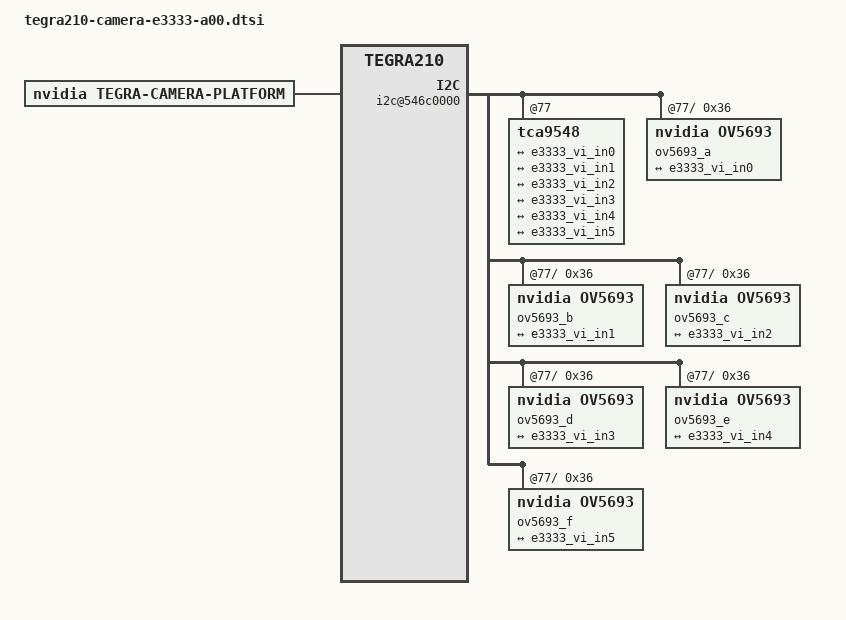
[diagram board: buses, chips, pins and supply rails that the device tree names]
/*
 * Copyright (c) 2015-2016, NVIDIA CORPORATION.  All rights reserved.
 *
 * This program is free software; you can redistribute it and/or modify
 * it under the terms of the GNU General Public License as published by
 * the Free Software Foundation; either version 2 of the License, or
 * (at your option) any later version.
 *
 * This program is distributed in the hope that it will be useful, but WITHOUT
 * ANY WARRANTY; without even the implied warranty of MERCHANTABILITY or
 * FITNESS FOR A PARTICULAR PURPOSE.  See the GNU General Public License for
 * more details.
 *
 * You should have received a copy of the GNU General Public License
 * along with this program.  If not, see <http://www.gnu.org/licenses/>.
 */

#include <dt-bindings/media/camera.h>
#include <dt-bindings/platform/t210/t210.h>

/* camera control gpio definitions */
/ {
	host1x {
		vi {
			num-channels = <6>;
			ports {
				#address-cells = <1>;
				#size-cells = <0>;
				port@0 {
					reg = <0>;
					e3333_vi_in0: endpoint {
						csi-port = <0>;
						bus-width = <2>;
						remote-endpoint = <&e3333_ov5693_out0>;
					};
				};
				port@1 {
					reg = <1>;
					e3333_vi_in1: endpoint {
						csi-port = <1>;
						bus-width = <2>;
						remote-endpoint = <&e3333_ov5693_out1>;
					};
				};
				port@2 {
					reg = <2>;
					e3333_vi_in2: endpoint {
						csi-port = <2>;
						bus-width = <2>;
						remote-endpoint = <&e3333_ov5693_out2>;
					};
				};
				port@3 {
					reg = <3>;
					e3333_vi_in3: endpoint {
						csi-port = <3>;
						bus-width = <2>;
						remote-endpoint = <&e3333_ov5693_out3>;
					};
				};
				port@4 {
					reg = <4>;
					e3333_vi_in4: endpoint {
						csi-port = <4>;
						bus-width = <2>;
						remote-endpoint = <&e3333_ov5693_out4>;
					};
				};
				port@5 {
					reg = <5>;
					e3333_vi_in5: endpoint {
						csi-port = <5>;
						bus-width = <2>;
						remote-endpoint = <&e3333_ov5693_out5>;
					};
				};
			};
		};

		i2c@546c0000 {
			status = "okay";
			#address-cells = <1>;
			#size-cells = <0>;

			tca9548@77 {
				i2c@0 {
					ov5693_a@36 {
						compatible = "nvidia,ov5693";
						reg = <0x36>;
						avdd-reg = "vana";
						iovdd-reg = "vif";
						devnode = "video0";
						physical_w = "3.674";
						physical_h = "2.738";
						/* Defines number of frames to be dropped by driver internally after applying */
						/* sensor crop settings. Some sensors send corrupt frames after applying */
						/* crop co-ordinates */
						post_crop_frame_drop = "0";

						mode0 { // OV5693_MODE_2592X1944
							mclk_khz = "24000";
							num_lanes = "2";
							tegra_sinterface = "serial_a";
							discontinuous_clk = "no";
							dpcm_enable = "false";
							cil_settletime = "0";
							active_w = "2592";
							active_h = "1944";
							pixel_t = "bayer_bggr";
							readout_orientation = "90";
							line_length = "2688";
							inherent_gain = "1";
							mclk_multiplier = "17.0";
							pix_clk_hz = "160000000";
							min_gain_val = "1.0";
							max_gain_val = "16";
							min_hdr_ratio = "1";
							max_hdr_ratio = "64";
							min_framerate = "1.816577";
							max_framerate = "30";
							min_exp_time = "34";
							max_exp_time = "550385";
						};
						mode1 { //OV5693_MODE_2592X1458
							mclk_khz = "24000";
							num_lanes = "2";
							tegra_sinterface = "serial_a";
							discontinuous_clk = "no";
							dpcm_enable = "false";
							cil_settletime = "0";
							active_w = "2592";
							active_h = "1458";
							pixel_t = "bayer_bggr";
							readout_orientation = "90";
							line_length = "2688";
							inherent_gain = "1";
							mclk_multiplier = "17.0";
							pix_clk_hz = "160000000";
							min_gain_val = "1.0";
							max_gain_val = "16";
							min_hdr_ratio = "1";
							max_hdr_ratio = "64";
							min_framerate = "1.816577";
							max_framerate = "30";
							min_exp_time = "34";
							max_exp_time = "550385";
						};
						mode2 { //OV5693_MODE_1280X720
							mclk_khz = "24000";
							num_lanes = "2";
							tegra_sinterface = "serial_a";
							discontinuous_clk = "no";
							dpcm_enable = "false";
							cil_settletime = "0";
							active_w = "1280";
							active_h = "720";
							pixel_t = "bayer_bggr";
							readout_orientation = "90";
							line_length = "1752";
							inherent_gain = "1";
							mclk_multiplier = "17.0";
							pix_clk_hz = "160000000";
							min_gain_val = "1.0";
							max_gain_val = "16";
							min_hdr_ratio = "1";
							max_hdr_ratio = "64";
							min_framerate = "2.787078";
							max_framerate = "120";
							min_exp_time = "22";
							max_exp_time = "358733";
						};
						// HDR Modes
						mode3 { //OV5693_MODE_2592X1944_HDR
							mclk_khz = "24000";
							num_lanes = "2";
							tegra_sinterface = "serial_a";
							discontinuous_clk = "no";
							dpcm_enable = "false";
							cil_settletime = "0";
							active_w = "2592";
							active_h = "1944";
							pixel_t = "hdr_bggr";
							readout_orientation = "90";
							line_length = "3696";
							inherent_gain = "1";
							mclk_multiplier = "19.0";
							pix_clk_hz = "176000000";
							min_gain_val = "1.0";
							max_gain_val = "16";
							min_hdr_ratio = "1";
							max_hdr_ratio = "64";
							min_framerate = "1.453262";
							max_framerate = "24";
							min_exp_time = "42";
							max_exp_time = "687981";
						};
						ports {
							#address-cells = <1>;
							#size-cells = <0>;
							port@0 {
								reg = <0>;
								e3333_ov5693_out0: endpoint {
									csi-port = <0>;
									bus-width = <2>;
									remote-endpoint = <&e3333_vi_in0>;
								};
							};
						};
					};
				};
				i2c@1 {
					ov5693_b@36 {
						compatible = "nvidia,ov5693";
						reg = <0x36>;
						avdd-reg = "vana";
						iovdd-reg = "vif";
						devnode = "video1";
						physical_w = "3.674";
						physical_h = "2.738";
						/* Defines number of frames to be dropped by driver internally after applying */
						/* sensor crop settings. Some sensors send corrupt frames after applying */
						/* crop co-ordinates */
						post_crop_frame_drop = "0";

						mode0 { // OV5693_MODE_2592X1944
							mclk_khz = "24000";
							num_lanes = "2";
							tegra_sinterface = "serial_b";
							discontinuous_clk = "no";
							dpcm_enable = "false";
							cil_settletime = "0";
							active_w = "2592";
							active_h = "1944";
							pixel_t = "bayer_bggr";
							readout_orientation = "90";
							line_length = "2688";
							inherent_gain = "1";
							mclk_multiplier = "17.0";
							pix_clk_hz = "160000000";
							min_gain_val = "1.0";
							max_gain_val = "16";
							min_hdr_ratio = "1";
							max_hdr_ratio = "64";
							min_framerate = "1.816577";
							max_framerate = "30";
							min_exp_time = "34";
							max_exp_time = "550385";
						};
						mode1 { //OV5693_MODE_2592X1458
							mclk_khz = "24000";
							num_lanes = "2";
							tegra_sinterface = "serial_b";
							discontinuous_clk = "no";
							dpcm_enable = "false";
							cil_settletime = "0";
							active_w = "2592";
							active_h = "1458";
							pixel_t = "bayer_bggr";
							readout_orientation = "90";
							line_length = "2688";
							inherent_gain = "1";
							mclk_multiplier = "17.0";
							pix_clk_hz = "160000000";
							min_gain_val = "1.0";
							max_gain_val = "16";
							min_hdr_ratio = "1";
							max_hdr_ratio = "64";
							min_framerate = "1.816577";
							max_framerate = "30";
							min_exp_time = "34";
							max_exp_time = "550385";
						};
						mode2 { //OV5693_MODE_1280X720
							mclk_khz = "24000";
							num_lanes = "2";
							tegra_sinterface = "serial_b";
							discontinuous_clk = "no";
							dpcm_enable = "false";
							cil_settletime = "0";
							active_w = "1280";
							active_h = "720";
							pixel_t = "bayer_bggr";
							readout_orientation = "90";
							line_length = "1752";
							inherent_gain = "1";
							mclk_multiplier = "17.0";
							pix_clk_hz = "160000000";
							min_gain_val = "1.0";
							max_gain_val = "16";
							min_hdr_ratio = "1";
							max_hdr_ratio = "64";
							min_framerate = "2.787078";
							max_framerate = "120";
							min_exp_time = "22";
							max_exp_time = "358733";
						};
						// HDR Modes
						mode3 { //OV5693_MODE_2592X1944_HDR
							mclk_khz = "24000";
							num_lanes = "2";
							tegra_sinterface = "serial_b";
							discontinuous_clk = "no";
							dpcm_enable = "false";
							cil_settletime = "0";
							active_w = "2592";
							active_h = "1944";
							pixel_t = "hdr_bggr";
							readout_orientation = "90";
							line_length = "3696";
							inherent_gain = "1";
							mclk_multiplier = "19.0";
							pix_clk_hz = "176000000";
							min_gain_val = "1.0";
							max_gain_val = "16";
							min_hdr_ratio = "1";
							max_hdr_ratio = "64";
							min_framerate = "1.453262";
							max_framerate = "24";
							min_exp_time = "42";
							max_exp_time = "687981";
						};
						ports {
							#address-cells = <1>;
							#size-cells = <0>;
							port@0 {
								reg = <0>;
								e3333_ov5693_out1: endpoint {
									csi-port = <1>;
									bus-width = <2>;
									remote-endpoint = <&e3333_vi_in1>;
								};
							};
						};
					};
				};
				i2c@2 {
					ov5693_c@36 {
						compatible = "nvidia,ov5693";
						reg = <0x36>;
						avdd-reg = "vana";
						iovdd-reg = "vif";
						devnode = "video2";
						physical_w = "3.674";
						physical_h = "2.738";
						/* Defines number of frames to be dropped by driver internally after applying */
						/* sensor crop settings. Some sensors send corrupt frames after applying */
						/* crop co-ordinates */
						post_crop_frame_drop = "0";

						mode0 { // OV5693_MODE_2592X1944
							mclk_khz = "24000";
							num_lanes = "2";
							tegra_sinterface = "serial_c";
							discontinuous_clk = "no";
							dpcm_enable = "false";
							cil_settletime = "0";
							active_w = "2592";
							active_h = "1944";
							pixel_t = "bayer_bggr";
							readout_orientation = "90";
							line_length = "2688";
							inherent_gain = "1";
							mclk_multiplier = "17.0";
							pix_clk_hz = "160000000";
							min_gain_val = "1.0";
							max_gain_val = "16";
							min_hdr_ratio = "1";
							max_hdr_ratio = "64";
							min_framerate = "1.816577";
							max_framerate = "30";
							min_exp_time = "34";
							max_exp_time = "550385";
						};
						mode1 { //OV5693_MODE_2592X1458
							mclk_khz = "24000";
							num_lanes = "2";
							tegra_sinterface = "serial_c";
							discontinuous_clk = "no";
							dpcm_enable = "false";
							cil_settletime = "0";
							active_w = "2592";
							active_h = "1458";
							pixel_t = "bayer_bggr";
							readout_orientation = "90";
							line_length = "2688";
							inherent_gain = "1";
							mclk_multiplier = "17.0";
							pix_clk_hz = "160000000";
							min_gain_val = "1.0";
							max_gain_val = "16";
							min_hdr_ratio = "1";
							max_hdr_ratio = "64";
							min_framerate = "1.816577";
							max_framerate = "30";
							min_exp_time = "34";
							max_exp_time = "550385";
						};
						mode2 { //OV5693_MODE_1280X720
							mclk_khz = "24000";
							num_lanes = "2";
							tegra_sinterface = "serial_c";
							discontinuous_clk = "no";
							dpcm_enable = "false";
							cil_settletime = "0";
							active_w = "1280";
							active_h = "720";
							pixel_t = "bayer_bggr";
							readout_orientation = "90";
							line_length = "1752";
							inherent_gain = "1";
							mclk_multiplier = "17.0";
							pix_clk_hz = "160000000";
							min_gain_val = "1.0";
							max_gain_val = "16";
							min_hdr_ratio = "1";
							max_hdr_ratio = "64";
							min_framerate = "2.787078";
							max_framerate = "120";
							min_exp_time = "22";
							max_exp_time = "358733";
						};
						// HDR Modes
						mode3 { //OV5693_MODE_2592X1944_HDR
							mclk_khz = "24000";
							num_lanes = "2";
							tegra_sinterface = "serial_c";
							discontinuous_clk = "no";
							dpcm_enable = "false";
							cil_settletime = "0";
							active_w = "2592";
							active_h = "1944";
							pixel_t = "hdr_bggr";
							readout_orientation = "90";
							line_length = "3696";
							inherent_gain = "1";
							mclk_multiplier = "19.0";
							pix_clk_hz = "176000000";
							min_gain_val = "1.0";
							max_gain_val = "16";
							min_hdr_ratio = "1";
							max_hdr_ratio = "64";
							min_framerate = "1.453262";
							max_framerate = "24";
							min_exp_time = "42";
							max_exp_time = "687981";
						};
						ports {
							#address-cells = <1>;
							#size-cells = <0>;
							port@0 {
								reg = <0>;
								e3333_ov5693_out2: endpoint {
									csi-port = <2>;
									bus-width = <2>;
									remote-endpoint = <&e3333_vi_in2>;
								};
							};
						};
					};
				};
				i2c@3 {
					ov5693_d@36 {
						compatible = "nvidia,ov5693";
						reg = <0x36>;
						avdd-reg = "vana";
						iovdd-reg = "vif";
						devnode = "video3";
						physical_w = "3.674";
						physical_h = "2.738";
						/* Defines number of frames to be dropped by driver internally after applying */
						/* sensor crop settings. Some sensors send corrupt frames after applying */
						/* crop co-ordinates */
						post_crop_frame_drop = "0";

						mode0 { // OV5693_MODE_2592X1944
							mclk_khz = "24000";
							num_lanes = "2";
							tegra_sinterface = "serial_d";
							discontinuous_clk = "no";
							dpcm_enable = "false";
							cil_settletime = "0";
							active_w = "2592";
							active_h = "1944";
							pixel_t = "bayer_bggr";
							readout_orientation = "90";
							line_length = "2688";
							inherent_gain = "1";
							mclk_multiplier = "17.0";
							pix_clk_hz = "160000000";
							min_gain_val = "1.0";
							max_gain_val = "16";
							min_hdr_ratio = "1";
							max_hdr_ratio = "64";
							min_framerate = "1.816577";
							max_framerate = "30";
							min_exp_time = "34";
							max_exp_time = "550385";
						};
						mode1 { //OV5693_MODE_2592X1458
							mclk_khz = "24000";
							num_lanes = "2";
							tegra_sinterface = "serial_d";
							discontinuous_clk = "no";
							dpcm_enable = "false";
							cil_settletime = "0";
							active_w = "2592";
							active_h = "1458";
							pixel_t = "bayer_bggr";
							readout_orientation = "90";
							line_length = "2688";
							inherent_gain = "1";
							mclk_multiplier = "17.0";
							pix_clk_hz = "160000000";
							min_gain_val = "1.0";
							max_gain_val = "16";
							min_hdr_ratio = "1";
							max_hdr_ratio = "64";
							min_framerate = "1.816577";
							max_framerate = "30";
							min_exp_time = "34";
							max_exp_time = "550385";
						};
						mode2 { //OV5693_MODE_1280X720
							mclk_khz = "24000";
							num_lanes = "2";
							tegra_sinterface = "serial_d";
							discontinuous_clk = "no";
							dpcm_enable = "false";
							cil_settletime = "0";
							active_w = "1280";
							active_h = "720";
							pixel_t = "bayer_bggr";
							readout_orientation = "90";
							line_length = "1752";
							inherent_gain = "1";
							mclk_multiplier = "17.0";
							pix_clk_hz = "160000000";
							min_gain_val = "1.0";
							max_gain_val = "16";
							min_hdr_ratio = "1";
							max_hdr_ratio = "64";
							min_framerate = "2.787078";
							max_framerate = "120";
							min_exp_time = "22";
							max_exp_time = "358733";
						};
						// HDR Modes
						mode3 { //OV5693_MODE_2592X1944_HDR
							mclk_khz = "24000";
							num_lanes = "2";
							tegra_sinterface = "serial_d";
							discontinuous_clk = "no";
							dpcm_enable = "false";
							cil_settletime = "0";
							active_w = "2592";
							active_h = "1944";
							pixel_t = "hdr_bggr";
							readout_orientation = "90";
							line_length = "3696";
							inherent_gain = "1";
							mclk_multiplier = "19.0";
							pix_clk_hz = "176000000";
							min_gain_val = "1.0";
							max_gain_val = "16";
							min_hdr_ratio = "1";
							max_hdr_ratio = "64";
							min_framerate = "1.453262";
							max_framerate = "24";
							min_exp_time = "42";
							max_exp_time = "687981";
						};
						ports {
							#address-cells = <1>;
							#size-cells = <0>;
							port@0 {
								reg = <0>;
								e3333_ov5693_out3: endpoint {
									csi-port = <3>;
									bus-width = <2>;
									remote-endpoint = <&e3333_vi_in3>;
								};
							};
						};
					};
				};
				i2c@4 {
					ov5693_e@36 {
						compatible = "nvidia,ov5693";
						reg = <0x36>;
						avdd-reg = "vana";
						iovdd-reg = "vif";
						devnode = "video4";
						physical_w = "3.674";
						physical_h = "2.738";
						/* Defines number of frames to be dropped by driver internally after applying */
						/* sensor crop settings. Some sensors send corrupt frames after applying */
						/* crop co-ordinates */
						post_crop_frame_drop = "0";

						mode0 { // OV5693_MODE_2592X1944
							mclk_khz = "24000";
							num_lanes = "2";
							tegra_sinterface = "serial_e";
							discontinuous_clk = "no";
							dpcm_enable = "false";
							cil_settletime = "0";
							active_w = "2592";
							active_h = "1944";
							pixel_t = "bayer_bggr";
							readout_orientation = "90";
							line_length = "2688";
							inherent_gain = "1";
							mclk_multiplier = "17.0";
							pix_clk_hz = "160000000";
							min_gain_val = "1.0";
							max_gain_val = "16";
							min_hdr_ratio = "1";
							max_hdr_ratio = "64";
							min_framerate = "1.816577";
							max_framerate = "30";
							min_exp_time = "34";
							max_exp_time = "550385";
						};
						mode1 { //OV5693_MODE_2592X1458
							mclk_khz = "24000";
							num_lanes = "2";
							tegra_sinterface = "serial_e";
							discontinuous_clk = "no";
							dpcm_enable = "false";
							cil_settletime = "0";
							active_w = "2592";
							active_h = "1458";
							pixel_t = "bayer_bggr";
							readout_orientation = "90";
							line_length = "2688";
							inherent_gain = "1";
							mclk_multiplier = "17.0";
							pix_clk_hz = "160000000";
							min_gain_val = "1.0";
							max_gain_val = "16";
							min_hdr_ratio = "1";
							max_hdr_ratio = "64";
							min_framerate = "1.816577";
							max_framerate = "30";
							min_exp_time = "34";
							max_exp_time = "550385";
						};
						mode2 { //OV5693_MODE_1280X720
							mclk_khz = "24000";
							num_lanes = "2";
							tegra_sinterface = "serial_e";
							discontinuous_clk = "no";
							dpcm_enable = "false";
							cil_settletime = "0";
							active_w = "1280";
							active_h = "720";
							pixel_t = "bayer_bggr";
							readout_orientation = "90";
							line_length = "1752";
							inherent_gain = "1";
							mclk_multiplier = "17.0";
							pix_clk_hz = "160000000";
							min_gain_val = "1.0";
							max_gain_val = "16";
							min_hdr_ratio = "1";
							max_hdr_ratio = "64";
							min_framerate = "2.787078";
							max_framerate = "120";
							min_exp_time = "22";
							max_exp_time = "358733";
						};
						// HDR Modes
						mode3 { //OV5693_MODE_2592X1944_HDR
							mclk_khz = "24000";
							num_lanes = "2";
							tegra_sinterface = "serial_e";
							discontinuous_clk = "no";
							dpcm_enable = "false";
							cil_settletime = "0";
							active_w = "2592";
							active_h = "1944";
							pixel_t = "hdr_bggr";
							readout_orientation = "90";
							line_length = "3696";
							inherent_gain = "1";
							mclk_multiplier = "19.0";
							pix_clk_hz = "176000000";
							min_gain_val = "1.0";
							max_gain_val = "16";
							min_hdr_ratio = "1";
							max_hdr_ratio = "64";
							min_framerate = "1.453262";
							max_framerate = "24";
							min_exp_time = "42";
							max_exp_time = "687981";
						};
						ports {
							#address-cells = <1>;
							#size-cells = <0>;
							port@0 {
								reg = <0>;
								e3333_ov5693_out4: endpoint {
									csi-port = <4>;
									bus-width = <2>;
									remote-endpoint = <&e3333_vi_in4>;
								};
							};
						};
					};
				};
				i2c@5 {
					ov5693_f@36 {
						compatible = "nvidia,ov5693";
						reg = <0x36>;
						avdd-reg = "vana";
						iovdd-reg = "vif";
						devnode = "video5";
						physical_w = "3.674";
						physical_h = "2.738";
						/* Defines number of frames to be dropped by driver internally after applying */
						/* sensor crop settings. Some sensors send corrupt frames after applying */
						/* crop co-ordinates */
						post_crop_frame_drop = "0";

						mode0 { // OV5693_MODE_2592X1944
							mclk_khz = "24000";
							num_lanes = "2";
							tegra_sinterface = "serial_f";
							discontinuous_clk = "no";
							dpcm_enable = "false";
							cil_settletime = "0";
							active_w = "2592";
							active_h = "1944";
							pixel_t = "bayer_bggr";
							readout_orientation = "90";
							line_length = "2688";
							inherent_gain = "1";
							mclk_multiplier = "17.0";
							pix_clk_hz = "160000000";
							min_gain_val = "1.0";
							max_gain_val = "16";
							min_hdr_ratio = "1";
							max_hdr_ratio = "64";
							min_framerate = "1.816577";
							max_framerate = "30";
							min_exp_time = "34";
							max_exp_time = "550385";
						};
						mode1 { //OV5693_MODE_2592X1458
							mclk_khz = "24000";
							num_lanes = "2";
							tegra_sinterface = "serial_f";
							discontinuous_clk = "no";
							dpcm_enable = "false";
							cil_settletime = "0";
							active_w = "2592";
							active_h = "1458";
							pixel_t = "bayer_bggr";
							readout_orientation = "90";
							line_length = "2688";
							inherent_gain = "1";
							mclk_multiplier = "17.0";
							pix_clk_hz = "160000000";
							min_gain_val = "1.0";
							max_gain_val = "16";
							min_hdr_ratio = "1";
							max_hdr_ratio = "64";
							min_framerate = "1.816577";
							max_framerate = "30";
							min_exp_time = "34";
							max_exp_time = "550385";
						};
						mode2 { //OV5693_MODE_1280X720
							mclk_khz = "24000";
							num_lanes = "2";
							tegra_sinterface = "serial_f";
							discontinuous_clk = "no";
							dpcm_enable = "false";
							cil_settletime = "0";
							active_w = "1280";
							active_h = "720";
							pixel_t = "bayer_bggr";
							readout_orientation = "90";
							line_length = "1752";
							inherent_gain = "1";
							mclk_multiplier = "17.0";
							pix_clk_hz = "160000000";
							min_gain_val = "1.0";
							max_gain_val = "16";
							min_hdr_ratio = "1";
							max_hdr_ratio = "64";
							min_framerate = "2.787078";
							max_framerate = "120";
							min_exp_time = "22";
							max_exp_time = "358733";
						};
						// HDR Modes
						mode3 { //OV5693_MODE_2592X1944_HDR
							mclk_khz = "24000";
							num_lanes = "2";
							tegra_sinterface = "serial_f";
							discontinuous_clk = "no";
							dpcm_enable = "false";
							cil_settletime = "0";
							active_w = "2592";
							active_h = "1944";
							pixel_t = "hdr_bggr";
							readout_orientation = "90";
							line_length = "3696";
							inherent_gain = "1";
							mclk_multiplier = "19.0";
							pix_clk_hz = "176000000";
							min_gain_val = "1.0";
							max_gain_val = "16";
							min_hdr_ratio = "1";
							max_hdr_ratio = "64";
							min_framerate = "1.453262";
							max_framerate = "24";
							min_exp_time = "42";
							max_exp_time = "687981";
						};
						ports {
							#address-cells = <1>;
							#size-cells = <0>;
							port@0 {
								reg = <0>;
								e3333_ov5693_out5: endpoint {
									csi-port = <5>;
									bus-width = <2>;
									remote-endpoint = <&e3333_vi_in5>;
								};
							};
						};
					};
				};
			};
		};
	};
};

/* camera control gpio definitions */
/ {

	tegra-camera-platform {
		compatible = "nvidia, tegra-camera-platform";

		/**
		 * The general guideline for naming badge_info contains 3 parts, and is as follows,
		 * The first part is the camera_board_id for the module; if the module is in a FFD
		 * platform, then use the platform name for this part.
		 * The second part contains the position of the module, ex. “rear” or “front”.
		 * The third part contains the last 6 characters of a part number which is found
		 * in the module's specsheet from the vender.
		 */
		modules {
			module0 {
				badge = "e3333_bottomleft_P5V27C";
				position = "bottomleft";
				orientation = "1";
				drivernode0 {
					pcl_id = "v4l2_sensor";
					proc-device-tree = "/proc/device-tree/host1x/i2c@546c0000/tca9548@77/i2c@0/ov5693_a@36";
				};
			};
			module1 {
				badge = "e3333_centerleft_P5V27C";
				position = "centerleft";
				orientation = "1";
				drivernode0 {
					pcl_id = "v4l2_sensor";
					proc-device-tree = "/proc/device-tree/host1x/i2c@546c0000/tca9548@77/i2c@1/ov5693_b@36";
				};
			};
			module2 {
				badge = "e3333_centerright_P5V27C";
				position = "centerright";
				orientation = "1";
				drivernode0 {
					pcl_id = "v4l2_sensor";
					proc-device-tree = "/proc/device-tree/host1x/i2c@546c0000/tca9548@77/i2c@2/ov5693_c@36";
				};
			};
			module3 {
				badge = "e3333_topleft_P5V27C";
				position = "topleft";
				orientation = "1";
				drivernode0 {
					pcl_id = "v4l2_sensor";
					proc-device-tree = "/proc/device-tree/host1x/i2c@546c0000/tca9548@77/i2c@3/ov5693_d@36";
				};
			};
			module4 {
				badge = "e3333_bottomright_P5V27C";
				position = "bottomright";
				orientation = "1";
				drivernode0 {
					pcl_id = "v4l2_sensor";
					proc-device-tree = "/proc/device-tree/host1x/i2c@546c0000/tca9548@77/i2c@4/ov5693_e@36";
				};
			};
			module5 {
				badge = "e3333_topright_P5V27C";
				position = "topright";
				orientation = "1";
				drivernode0 {
					pcl_id = "v4l2_sensor";
					proc-device-tree = "/proc/device-tree/host1x/i2c@546c0000/tca9548@77/i2c@5/ov5693_f@36";
				};
			};
		};
	};
};
